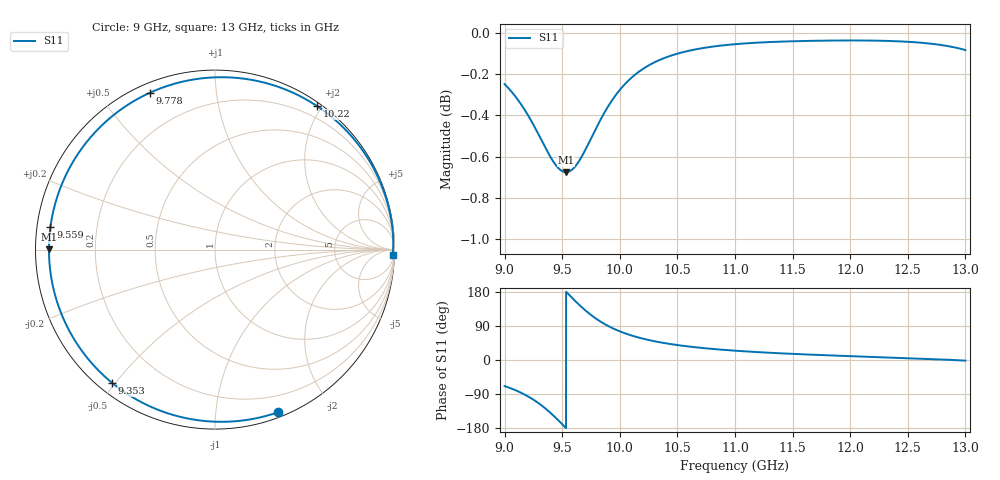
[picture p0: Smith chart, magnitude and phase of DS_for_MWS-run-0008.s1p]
! TOUCHSTONE file generated by CST DESIGN STUDIO
! Date and time: Tue Feb  4 14:23:07 2025
! Project name: C:\Work\MatlabApps\UnitCellOptimizationMatlab\CST\unitcell.cst
! Tree item: Tasks\Sweep1\SPara1\S-Parameters
! Header version: 2024
! Port assignment regex: !\s*Touchstone port\s*([0-9]+)\s*=\s*(CST MWS port|CST DES external port|CST DES block port)\s*(.+)\s* \(\"(.*)\"\)(\s*mode\s*([0-9]+))?.*
! Touchstone port assignment:
! Touchstone port 1 = CST DES external port 1 ("")
# GHz S MA R 50
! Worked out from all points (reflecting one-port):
!   4001 points, 9 GHz to 13 GHz, reference 50 ohm
!   lowest |S11| = -0.7 dB at 9.534 GHz (marker M1), VSWR 25.72, Z = 1.94 + j0.0262 ohm
!   phase of S11 starts at -69 deg and turns -293 deg over the sweep
!   S11 on the Smith chart (normalised r, x): 9 GHz: 0.04, -1.46; 9.353 GHz: 0.04, -0.49; 9.559 GHz: 0.04, +0.07; 9.778 GHz: 0.04, +0.67; 10.22 GHz: 0.05, +1.93; 13 GHz: 20, -62
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9  0.9719 -68.9
9.101  0.9646 -80.6
9.21  0.9544 -97.3
9.285  0.946 -111.9
9.353  0.938 -127.7
9.422  0.9307 -146.2
9.463  0.9275 -158.2
9.5  0.9257 -169.5
9.534  0.9252 179.9
9.559  0.9255 172.2
9.612  0.9281 155.9
9.673  0.9337 138.4
9.725  0.9397 124.8
9.778  0.9462 112.5
9.824  0.9518 103.0
9.875  0.9574 93.7
9.937  0.9635 84.0
10  0.9688 75.6
10.105  0.9756 64.4
10.223  0.9811 54.6
10.351  0.9853 46.6
10.5  0.9886 39.4
10.721  0.9917 31.6
11  0.9939 24.6
11.5  0.9955 16.2
12  0.9959 10.2
12.5  0.9952 4.9
13  0.9906 -1.7
